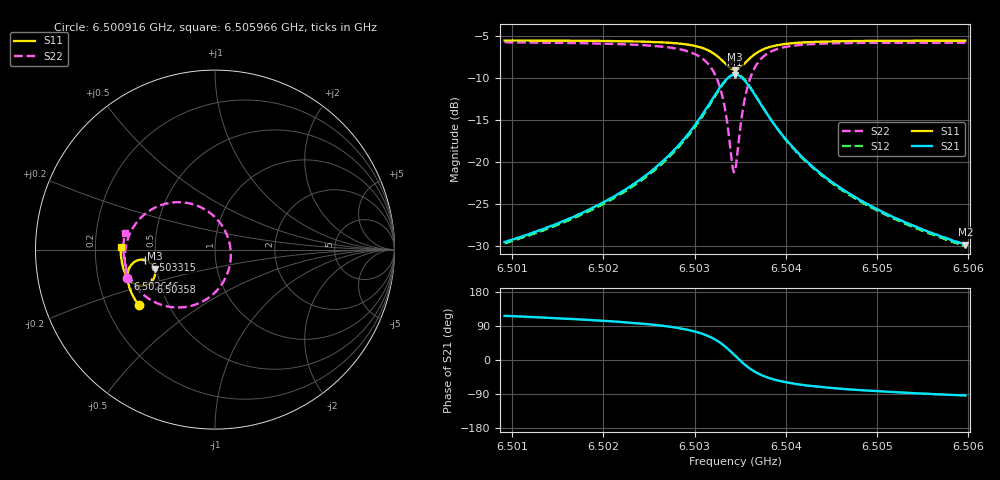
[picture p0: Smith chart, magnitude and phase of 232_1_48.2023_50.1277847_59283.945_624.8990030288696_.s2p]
#  HZ  S  RI  R  50.00
! Rohde & Schwarz Vector Network Analyzer
! Rohde-Schwarz,ZNB20-2Port,1311601062101988,3.16
! Created: UTC 3/20/2024, 11:46:23 AM
! freq[Hz]  re:S11  im:S11  re:S21  im:S21  re:S12  im:S12  re:S22  im:S22
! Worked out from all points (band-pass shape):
!   401 points, 6.500916 GHz to 6.505966 GHz, reference 50 ohm
!   highest |S21| = -9.63 dB at 6.503441 GHz (marker M1); lowest = -29.8 dB at 6.505966 GHz (marker M2)
!   |S21| within 3 dB of the highest: 6.503188 GHz to 6.503694 GHz (505.2 kHz wide, 0.00777 % of centre)
!   lowest |S11| = -9.0 dB at 6.503441 GHz (marker M3), VSWR 2.09, Z = 24.3 - j5.96 ohm
!   |S11| at or under -10 dB: nowhere
!   |S22| runs from -21.2 to -5.8 dB; largest |S21 - S12| = 0.012
!   S11 on the Smith chart (normalised r, x): 6.500916 GHz: 0.34, -0.29; 6.502646 GHz: 0.33, -0.14; 6.503315 GHz: 0.44, -0.06; 6.50358 GHz: 0.45, -0.19; 6.505966 GHz: 0.31, +0.01
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6.5009163e9  -0.4247 -0.3114  -0.0149 0.0299  -0.0132 0.0301  -0.4891 -0.1571
6.5017622e9  -0.4612 -0.2492  -0.0143 0.0477  -0.0119 0.0472  -0.5029 -0.0676
6.5022419e9  -0.4783 -0.2066  -0.0112 0.0676  -0.00826 0.0665  -0.4996 0.000428
6.502608e9  -0.4868 -0.1661  -0.00249 0.0963  0.00121 0.0941  -0.4805 0.0735
6.5026459e9  -0.4873 -0.1612  -0.00066 0.1005  0.00301 0.0981  -0.4767 0.0832
6.5029237e9  -0.4834 -0.1182  0.0261 0.1431  0.0298 0.1386  -0.4213 0.1691
6.503113e9  -0.4621 -0.0801  0.0802 0.1851  0.0828 0.179  -0.3174 0.2417
6.5032267e9  -0.4295 -0.0593  0.1496 0.2027  0.1505 0.1963  -0.1924 0.264
6.503315e9  -0.389 -0.0577  0.2295 0.1862  0.2298 0.1813  -0.0549 0.2229
6.5033529e9  -0.3696 -0.0655  0.2657 0.1629  0.2666 0.1584  0.00522 0.1755
6.503416e9  -0.3429 -0.0924  0.3134 0.0987  0.3159 0.0935  0.077 0.0514
6.5034413e9  -0.3366 -0.1071  0.3234 0.0661  0.3267 0.0604  0.0876 -0.00913
6.5034665e9  -0.3336 -0.1229  0.3269 0.0322  0.3305 0.0253  0.0854 -0.0707
6.5035297e9  -0.341 -0.1602  0.3084 -0.0457  0.3105 -0.0559  0.0287 -0.2061
6.5035802e9  -0.3574 -0.182  0.2746 -0.0913  0.2742 -0.1026  -0.0482 -0.277
6.5036812e9  -0.3974 -0.2007  0.1986 -0.1337  0.1936 -0.1436  -0.203 -0.3227
6.5038453e9  -0.4455 -0.193  0.1128 -0.1337  0.1059 -0.1389  -0.3588 -0.2799
6.504022e9  -0.474 -0.1718  0.0662 -0.1135  0.0598 -0.1159  -0.435 -0.2143
6.5042872e9  -0.4963 -0.1402  0.0339 -0.0879  0.0291 -0.0882  -0.4818 -0.1377
6.5046786e9  -0.5122 -0.0996  0.0145 -0.0641  0.0113 -0.0635  -0.5046 -0.0607
6.5051331e9  -0.5212 -0.0577  0.00504 -0.0479  0.00267 -0.0472  -0.5105 0.00311
6.5059663e9  -0.5258 0.0129  -0.00201 -0.0322  -0.00343 -0.0314  -0.5023 0.0909
